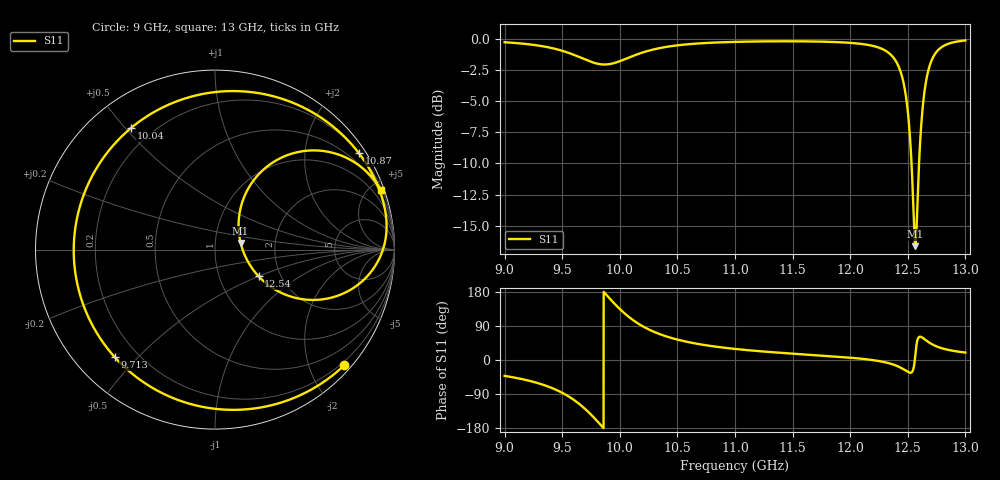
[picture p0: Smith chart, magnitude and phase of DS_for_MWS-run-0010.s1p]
! TOUCHSTONE file generated by CST DESIGN STUDIO
! Date and time: Tue Feb  4 18:29:50 2025
! Project name: C:\Work\MatlabApps\UnitCellOptimizationMatlab\CST\unitcell.cst
! Tree item: Tasks\Sweep1\SPara1\S-Parameters
! Header version: 2024
! Port assignment regex: !\s*Touchstone port\s*([0-9]+)\s*=\s*(CST MWS port|CST DES external port|CST DES block port)\s*(.+)\s* \(\"(.*)\"\)(\s*mode\s*([0-9]+))?.*
! Touchstone port assignment:
! Touchstone port 1 = CST DES external port 1 ("")
# GHz S MA R 50
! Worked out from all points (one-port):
!   4001 points, 9 GHz to 13 GHz, reference 50 ohm
!   lowest |S11| = -16.6 dB at 12.57 GHz (marker M1), VSWR 1.35, Z = 66.4 + j5.11 ohm
!   |S11| at or under -10 dB: 12.53 GHz to 12.6 GHz (65.16 MHz wide, 0.519 % of centre)
!   S11 on the Smith chart (normalised r, x): 9 GHz: 0.13, -2.61; 9.713 GHz: 0.12, -0.43; 10.04 GHz: 0.12, +0.52; 10.87 GHz: 0.21, +3.27; 12.54 GHz: 1.54, -0.50; 13 GHz: 0.31, +5.74
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9  0.9663 -41.9
9.279  0.9391 -60.1
9.5  0.8932 -86.5
9.614  0.8557 -108.1
9.713  0.819 -133.1
9.79  0.796 -156.7
9.857  0.7872 -179.1
9.924  0.7921 158.3
10  0.8114 134.6
10.036  0.8235 124.5
10.117  0.8525 104.9
10.209  0.8823 87.3
10.346  0.9155 68.3
10.5  0.9391 53.9
10.867  0.9651 33.8
11  0.9694 29.2
11.5  0.9747 16.8
12  0.9608 6.2
12.346  0.8669 -9.3
12.431  0.7509 -19.2
12.5  0.5113 -31.3
12.537  0.2855 -31.5
12.566  0.1476 14.8
12.579  0.1898 46.3
12.623  0.4917 59.7
12.675  0.7349 48.3
12.795  0.9247 31.0
13  0.9822 19.7
